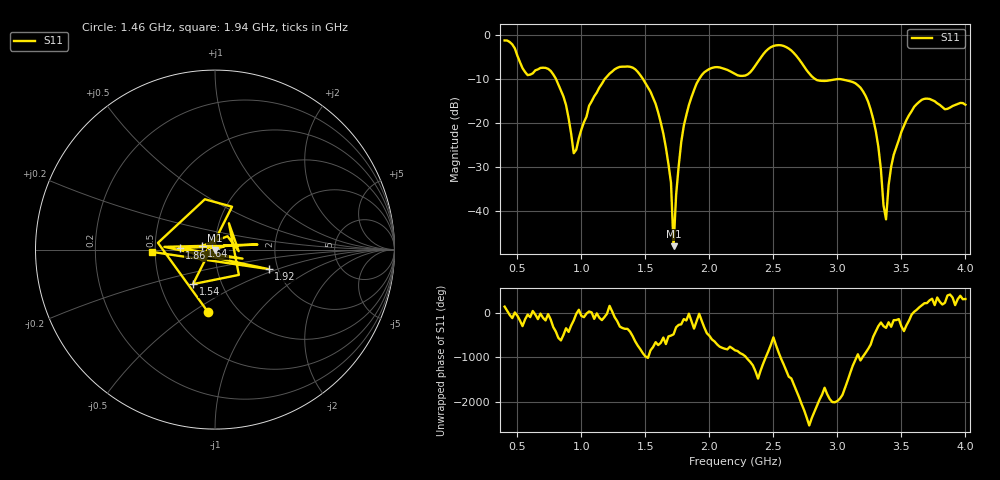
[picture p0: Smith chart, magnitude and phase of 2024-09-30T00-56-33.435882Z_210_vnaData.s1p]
!Created with skrf (http://scikit-rf.org).
# Hz S RI R 50.0
!freq ReS11 ImS11
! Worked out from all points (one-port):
!   181 points, 400 MHz to 4 GHz, reference 50 ohm
!   lowest |S11| = -47.9 dB at 1.72 GHz (marker M1), VSWR 1.01, Z = 49.8 - j0.34 ohm
!   |S11| at or under -10 dB: 802.1 MHz to 1.181 GHz (379.3 MHz wide, 38.2 % of centre); 1.482 GHz to 1.919 GHz (437.2 MHz wide, 25.7 % of centre); 3.026 GHz to end of sweep (the widest 3 of 4)
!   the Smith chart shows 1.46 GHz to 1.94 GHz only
!   S11 on the Smith chart (normalised r, x): 1.46 GHz: 0.73, -0.58; 1.54 GHz: 0.73, -0.30; 1.64 GHz: 0.86, +0.03; 1.86 GHz: 0.67, +0.01; 1.92 GHz: 1.78, -0.43; 1.94 GHz: 0.48, -0.01
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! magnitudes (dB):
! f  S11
! 400 MHz  -1.2
! 580 MHz  -9.1
! 760 MHz  -8.1
! 860 MHz  -13.9
! 940 MHz  -26.8
! 1.06 GHz  -16.0
! 1.3 GHz  -7.2
! 1.46 GHz  -9.1
! 1.54 GHz  -12.8
! 1.64 GHz  -22.3
! 1.7 GHz  -33.5
! 1.72 GHz  -47.9
! 1.76 GHz  -29.7
! 1.8 GHz  -20.6
! 1.86 GHz  -14.1
! 1.92 GHz  -10.0
! 1.94 GHz  -9.1
! 2.2 GHz  -8.8
! 2.5 GHz  -2.5
! 2.66 GHz  -4.1
! 2.84 GHz  -10.2
! 3.1 GHz  -10.5
! 3.28 GHz  -19.1
! 3.38 GHz  -41.8
! 3.44 GHz  -27.1
! 3.56 GHz  -18.2
! 3.68 GHz  -14.4
! 4 GHz  -15.8
